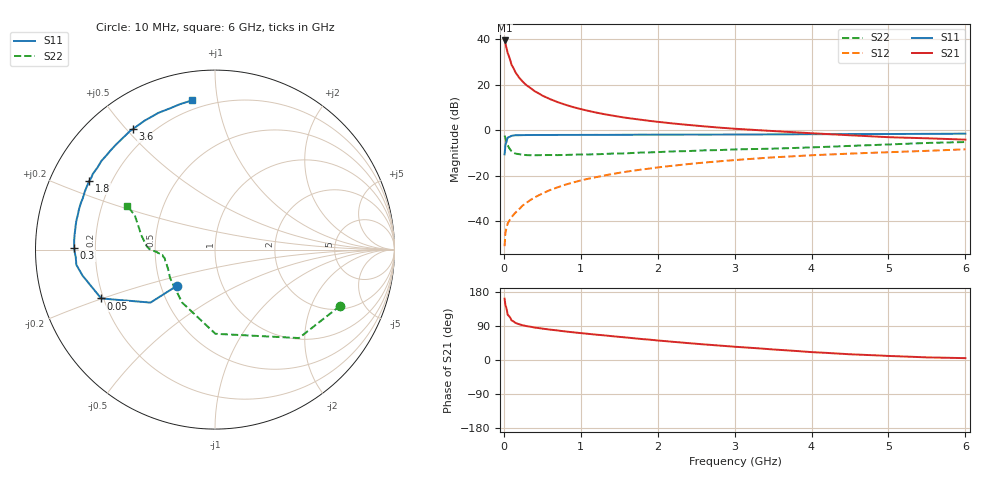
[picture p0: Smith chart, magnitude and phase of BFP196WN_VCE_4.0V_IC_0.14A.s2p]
! Infineon Technologies  Discrete & RF Semiconductors
! BFP196WN
! VCE =  4.0 V,  IC = 0.14 A
! Common Emitter S-Parameters:  Jan 2017
# GHz  S  MA  R  50
!  f  S11  S21  S12  S22
! GHz  MAG  ANG  MAG  ANG  MAG  ANG  MAG  ANG
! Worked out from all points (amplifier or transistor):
!   77 points, 10 MHz to 6 GHz, reference 50 ohm
!   highest |S21| = 39.5 dB at 10 MHz (marker M1)
!   |S21| within 3 dB of that: start of sweep to 32.26 MHz
!   unconditionally stable (mu >= 1): 304.2 MHz to 2.793 GHz
!   at 130 MHz: K = 0.80, MSG = 32.0 dB, |S12| = -37.1 dB
!   at 2.2 GHz: K = 1.03, MAG = 8.3 dB, |S12| = -15.6 dB
!   at 6 GHz: K = 0.93, MSG = 2.1 dB, |S12| = -8.4 dB
!   S11 on the Smith chart (normalised r, x): 10 MHz: 0.60, -0.27; 50 MHz: 0.19, -0.20; 300 MHz: 0.12, +0.01; 1.8 GHz: 0.12, +0.25; 3.6 GHz: 0.13, +0.52; 6 GHz: 0.15, +0.85
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0.01  0.2947 -136.5  94.89 161.8  0.0028 70.1  0.7651 -24.1
0.02  0.4652 -140.6  81.48 145.3  0.0055 67.2  0.6794 -46.5
0.05  0.6902 -156.8  50.18 119.3  0.0088 52.1  0.4691 -89.7
0.1  0.7522 -168.9  27.7 104.4  0.0121 55.3  0.3472 -121.9
0.15  0.777 -173.7  18.98 98.0  0.0153 60.6  0.3065 -138.1
0.2  0.777 -176.9  14.32 94.2  0.0184 67.5  0.2965 -147.4
0.25  0.7816 -178.9  11.52 91.4  0.0224 67.1  0.2884 -152.8
0.3  0.7845 179.3  9.625 89.3  0.0257 68.9  0.283 -157.4
0.4  0.7861 176.3  7.254 85.6  0.0331 72.9  0.2817 -162.1
0.5  0.7868 174.0  5.808 82.8  0.0403 73.0  0.2836 -165.5
0.6  0.7866 171.8  4.854 80.2  0.0483 73.1  0.2846 -168.1
0.7  0.7881 169.9  4.16 77.9  0.0554 74.4  0.2835 -169.7
0.8  0.7891 167.9  3.643 75.3  0.0633 74.2  0.2858 -170.7
1.1  0.7906 162.6  2.667 69.0  0.0858 73.0  0.2937 -173.7
1.4  0.7917 157.5  2.121 63.0  0.1082 70.9  0.3056 -175.5
1.8  0.7984 151.3  1.688 55.2  0.137 67.8  0.3232 -177.4
2.1  0.7994 146.7  1.471 49.8  0.1588 65.3  0.3359 -178.4
3.1  0.8046 131.7  1.055 33.7  0.2267 56.3  0.3811 177.0
3.6  0.8126 124.4  0.939 26.5  0.2582 51.7  0.3981 173.0
4.1  0.819 117.4  0.842 19.8  0.286 47.0  0.4252 167.3
5.1  0.8274 106.6  0.695 10.0  0.3328 39.0  0.4935 156.4
6  0.8409 98.8  0.621 4.9  0.3801 32.6  0.55 153.6
